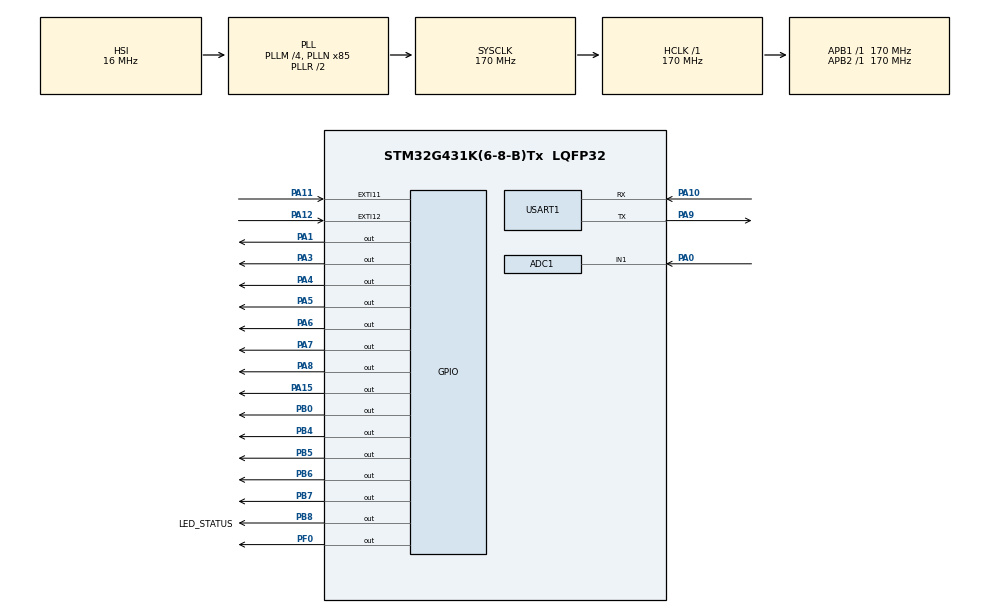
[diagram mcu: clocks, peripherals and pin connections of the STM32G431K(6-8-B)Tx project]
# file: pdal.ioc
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ADC1.Channel-0\#ChannelRegularConversion=ADC_CHANNEL_1
ADC1.NbrOfConversion=1
ADC1.NbrOfConversionFlag=1
ADC1.OffsetNumber-0\#ChannelRegularConversion=ADC_OFFSET_NONE
ADC1.Rank-0\#ChannelRegularConversion=1
ADC1.SamplingTime-0\#ChannelRegularConversion=ADC_SAMPLETIME_2CYCLES_5
ADC1.master=1
Mcu.Family=STM32G4
Mcu.Name=STM32G431K(6-8-B)Tx
Mcu.Package=LQFP32
NVIC.EXTI15_10_IRQn=true\:0\:0\:false\:false\:true\:true\:true\:true
NVIC.PriorityGroup=NVIC_PRIORITYGROUP_4
NVIC.TIM4_IRQn=true\:0\:0\:false\:false\:true\:true\:true\:true
PA0.Mode=IN1-Single-Ended
PA0.Signal=ADC1_IN1
PA1.Signal=GPIO_Output
PA10.Mode=Asynchronous
PA10.Signal=USART1_RX
PA11.GPIO_ModeDefaultEXTI=GPIO_MODE_IT_FALLING
PA11.GPIO_PuPd=GPIO_NOPULL
PA11.Signal=GPXTI11
PA12.GPIO_ModeDefaultEXTI=GPIO_MODE_IT_FALLING
PA12.GPIO_PuPd=GPIO_NOPULL
PA12.Signal=GPXTI12
PA13.Mode=Serial_Wire
PA13.Signal=SYS_JTMS-SWDIO
PA14.Mode=Serial_Wire
PA14.Signal=SYS_JTCK-SWCLK
PA15.Signal=GPIO_Output
PA3.Signal=GPIO_Output
PA4.PinState=GPIO_PIN_SET
PA4.Signal=GPIO_Output
PA5.Signal=GPIO_Output
PA6.Signal=GPIO_Output
PA7.GPIO_PuPd=GPIO_NOPULL
PA7.Signal=GPIO_Output
PA8.Signal=GPIO_Output
PA9.Mode=Asynchronous
PA9.Signal=USART1_TX
PB0.Signal=GPIO_Output
PB3.Signal=SYS_JTDO-SWO
PB4.Signal=GPIO_Output
PB5.Signal=GPIO_Output
PB6.Signal=GPIO_Output
PB7.Signal=GPIO_Output
PB8-BOOT0.GPIO_Label=LED_STATUS
PB8-BOOT0.Signal=GPIO_Output
PF0-OSC_IN.Signal=GPIO_Output
ProjectManager.HeapSize=0x200
ProjectManager.StackSize=0x400
ProjectManager.TargetToolchain=STM32CubeIDE
RCC.ADC12Freq_Value=170000000
RCC.AHBFreq_Value=170000000
RCC.APB1Freq_Value=170000000
RCC.APB1TimFreq_Value=170000000
RCC.APB2Freq_Value=170000000
RCC.APB2TimFreq_Value=170000000
RCC.CortexFreq_Value=170000000
RCC.EXTERNAL_CLOCK_VALUE=12288000
RCC.HCLKFreq_Value=170000000
RCC.HSE_VALUE=8000000
RCC.HSI48_VALUE=48000000
RCC.HSI_VALUE=16000000
RCC.LSE_VALUE=32768
RCC.PLLM=RCC_PLLM_DIV4
RCC.PLLN=85
RCC.SYSCLKFreq_VALUE=170000000
RCC.SYSCLKSource=RCC_SYSCLKSOURCE_PLLCLK
RCC.USBFreq_Value=170000000
RCC.VCOOutputFreq_Value=340000000
TIM4.PeriodNoDither=19
TIM4.Prescaler=7999
USART1.SwapParam=ADVFEATURE_SWAP_ENABLE
USART1.VirtualMode-Asynchronous=VM_ASYNC
VP_SYS_VS_DBSignals.Mode=DisableDeadBatterySignals
VP_TIM4_VS_ClockSourceINT.Mode=Internal
board=custom

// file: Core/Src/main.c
/* USER CODE BEGIN Header */
/**
 ******************************************************************************
 * @file           : main.c
 * @brief          : Main program body
 ******************************************************************************
 * @attention
 *
 * Copyright (c) 2025 STMicroelectronics.
 * All rights reserved.
 *
 * This software is licensed under terms that can be found in the LICENSE file
 * in the root directory of this software component.
 * If no LICENSE file comes with this software, it is provided AS-IS.
 *
 ******************************************************************************
 */
/* USER CODE END Header */
#include "main.h"
#include "adc.h"
#include "tim.h"
#include "usart.h"
#include "gpio.h"

/* USER CODE BEGIN Includes */
#include "midi.h"
#include "screen.h"
#include <stdio.h>
/* USER CODE END Includes */

void SystemClock_Config(void);

/* USER CODE BEGIN 0 */
int __io_putchar(int chr)
{
	HAL_UART_Transmit(&huart1, (uint8_t*)&chr, 1, HAL_MAX_DELAY);

	return chr;
}

void HAL_TIM_PeriodElapsedCallback(TIM_HandleTypeDef *htim)
{
	if (htim->Instance == TIM4)
	{
		screenDisplay();
		//ControlChange(ADCValue(), EFFECT);
		//printf("%d \r\n", ADCValue());
	}
}

/* Fonction de callback des boutons */
void HAL_GPIO_EXTI_Callback(uint16_t GPIO_Pin)
{
	static int lastButtonTime = 0; // Anti-rebonds

	if ((HAL_GetTick() - lastButtonTime) > 200)
	{ // Anti-rebonds 50ms
		switch(GPIO_Pin)
		{
		case BUTTON_UP:
			globalToDisplay++;
			// Change l'instrument virtuel suivant le numero affiché sur l'ecran en piochant le son associé dans la banque MIDI.
			ProgramChange(globalToDisplay);
			printf("%d \r\n", globalToDisplay);
			if (globalToDisplay > 127) //RQ: pour moi 127 car une data en midi = 1 octet donc au max 128 sons différents possibles
			{
				globalToDisplay=127;
			}
			break;

		case BUTTON_DOWN:
			globalToDisplay--;
			// Change l'instrument virtuel suivant le numero affiché sur l'ecran en piochant le son associé dans la banque MIDI.
			ProgramChange(globalToDisplay);
			printf("%d \r\n", globalToDisplay);
			if (globalToDisplay < 0)
			{
				globalToDisplay=0;
			}
			break;
		}

		lastButtonTime = HAL_GetTick();
	}
}
/* USER CODE END 0 */

int main(void)
{

  /* MCU Configuration--------------------------------------------------------*/

  /* Reset of all peripherals, Initializes the Flash interface and the Systick. */
  HAL_Init();

  /* Configure the system clock */
  SystemClock_Config();

  /* Initialize all configured peripherals */
  MX_GPIO_Init();
  MX_USART1_UART_Init();
  MX_ADC1_Init();
  MX_TIM4_Init();
  /* USER CODE BEGIN 2 */
  globalToDisplay = 0;                // Valeur de départ « 00 »

  HAL_TIM_Base_Start_IT(&htim4);      // démarre le multiplexage

  printf("Test\r\n");
  /* USER CODE END 2 */

  /* Infinite loop */
  /* USER CODE BEGIN WHILE */
	while (1)
	{
		// HAL_PWR_EnterSLEEPMode(PWR_MAINREGULATOR_ON, PWR_SLEEPENTRY_WFI);

    /* USER CODE END WHILE */
		HAL_GPIO_WritePin(GPIOB,GPIO_PIN_8,1);
		HAL_Delay(100);
		HAL_GPIO_WritePin(GPIOB,GPIO_PIN_8,0);
		HAL_Delay(100);
	}
}

void SystemClock_Config(void)
{
  RCC_OscInitTypeDef RCC_OscInitStruct = {0};
  RCC_ClkInitTypeDef RCC_ClkInitStruct = {0};

  /** Configure the main internal regulator output voltage
  */
  HAL_PWREx_ControlVoltageScaling(PWR_REGULATOR_VOLTAGE_SCALE1_BOOST);

  /** Initializes the RCC Oscillators according to the specified parameters
  * in the RCC_OscInitTypeDef structure.
  */
  RCC_OscInitStruct.OscillatorType = RCC_OSCILLATORTYPE_HSI;
  RCC_OscInitStruct.HSIState = RCC_HSI_ON;
  RCC_OscInitStruct.HSICalibrationValue = RCC_HSICALIBRATION_DEFAULT;
  RCC_OscInitStruct.PLL.PLLState = RCC_PLL_ON;
  RCC_OscInitStruct.PLL.PLLSource = RCC_PLLSOURCE_HSI;
  RCC_OscInitStruct.PLL.PLLM = RCC_PLLM_DIV4;
  RCC_OscInitStruct.PLL.PLLN = 85;
  RCC_OscInitStruct.PLL.PLLP = RCC_PLLP_DIV2;
  RCC_OscInitStruct.PLL.PLLQ = RCC_PLLQ_DIV2;
  RCC_OscInitStruct.PLL.PLLR = RCC_PLLR_DIV2;
  if (HAL_RCC_OscConfig(&RCC_OscInitStruct) != HAL_OK)
  {
    Error_Handler();
  }

  /** Initializes the CPU, AHB and APB buses clocks
  */
  RCC_ClkInitStruct.ClockType = RCC_CLOCKTYPE_HCLK|RCC_CLOCKTYPE_SYSCLK
                              |RCC_CLOCKTYPE_PCLK1|RCC_CLOCKTYPE_PCLK2;
  RCC_ClkInitStruct.SYSCLKSource = RCC_SYSCLKSOURCE_PLLCLK;
  RCC_ClkInitStruct.AHBCLKDivider = RCC_SYSCLK_DIV1;
  RCC_ClkInitStruct.APB1CLKDivider = RCC_HCLK_DIV1;
  RCC_ClkInitStruct.APB2CLKDivider = RCC_HCLK_DIV1;

  if (HAL_RCC_ClockConfig(&RCC_ClkInitStruct, FLASH_LATENCY_4) != HAL_OK)
  {
    Error_Handler();
  }
}

void Error_Handler(void)
{
	__disable_irq();
	while (1)
	{
	}
}
